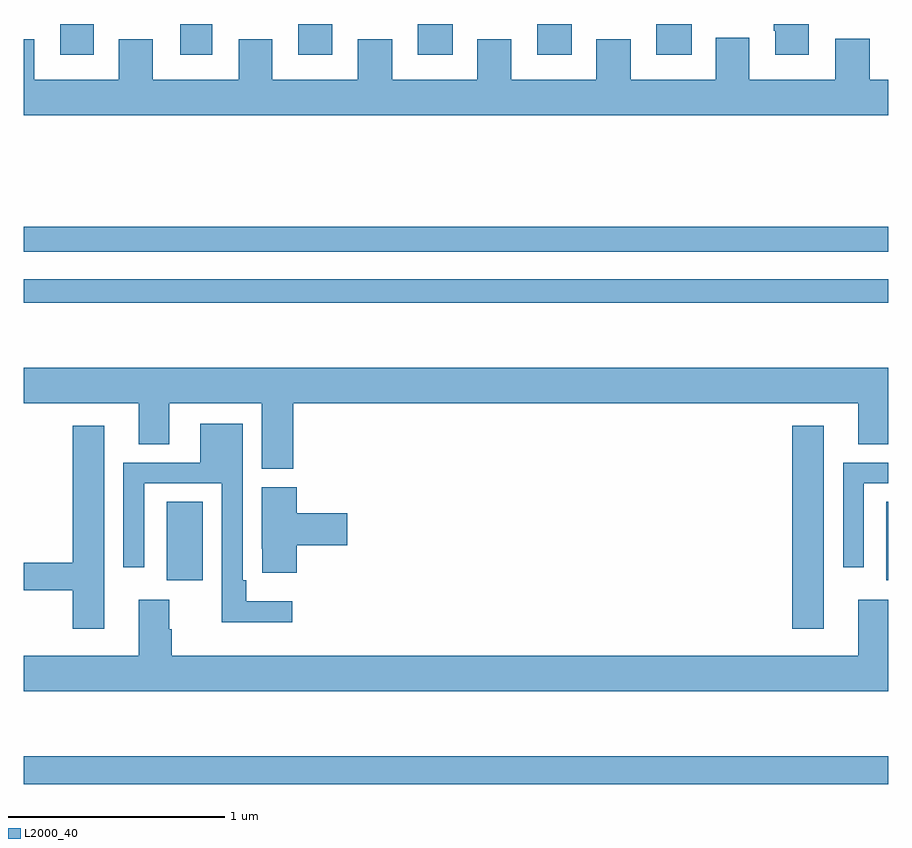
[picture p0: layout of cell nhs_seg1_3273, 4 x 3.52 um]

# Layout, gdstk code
import gdstk
lib = gdstk.Library(unit=1e-6, precision=1e-09)
def R(c, l, rs):  # rectangles x0, y0, x1, y1
    for r in rs: c.add(gdstk.rectangle(r[:2], r[2:], *l))
def P(c, l, *ps):  # polygons
    for p in ps: c.add(gdstk.Polygon(p, *l))
L2000_40 = (2000, 40)

nhs_seg1_3273 = lib.new_cell('nhs_seg1_3273')
R(nhs_seg1_3273, L2000_40, [(289,504.682,293,504.811), (292.556,505.401,292.702,506.341), (289.661,505.626,289.828,505.988), (292.991,505.626,293,505.988), (289,506.91,293,507.018), (289,507.144,293,507.26), (289.169,508.056,289.324,508.199), (289.724,508.056,289.873,508.199), (290.27,508.056,290.428,508.199), (290.822,508.056,290.986,508.199), (291.377,508.056,291.535,508.199), (291.926,508.056,292.09,508.199)])
P(nhs_seg1_3273, L2000_40, [(292.633,508.199),(292.471,508.199),(292.471,508.168),(292.478,508.168),(292.478,508.056),(292.633,508.056)],
  [(289.439,508.129),(289.439,507.94),(289.048,507.94),(289.048,508.129),(289,508.129),(289,507.776),(293,507.776),(293,507.94),(292.915,507.94),(292.915,508.13),(292.754,508.13),(292.754,507.94),(292.357,507.94),(292.357,508.135),(292.202,508.135),(292.202,507.94),(291.808,507.94),(291.808,508.129),(291.65,508.129),(291.65,507.94),(291.256,507.94),(291.256,508.129),(291.098,508.129),(291.098,507.94),(290.704,507.94),(290.704,508.129),(290.546,508.129),(290.546,507.94),(290.149,507.94),(290.149,508.129),(289.994,508.129),(289.994,507.94),(289.597,507.94),(289.597,508.129)],
  [(290.246,506.444),(292.862,506.444),(292.862,506.254),(293,506.254),(293,506.608),(289,506.608),(289,506.444),(289.532,506.444),(289.532,506.254),(289.672,506.254),(289.672,506.444),(290.102,506.444),(290.102,506.14),(290.246,506.14)],
  [(290.242,505.528),(290.029,505.528),(290.029,505.624),(290.013,505.624),(290.013,506.35),(289.817,506.35),(289.817,506.169),(289.461,506.169),(289.461,505.686),(289.557,505.686),(289.557,506.073),(289.917,506.073),(289.917,505.43),(290.242,505.43)],
  [(289.372,506.341),(289.226,506.341),(289.226,505.706),(289,505.706),(289,505.578),(289.226,505.578),(289.226,505.401),(289.372,505.401)],
  [(292.887,506.073),(293,506.073),(293,506.169),(292.791,506.169),(292.791,505.686),(292.887,505.686)],
  [(290.264,505.787),(290.497,505.787),(290.497,505.934),(290.264,505.934),(290.264,506.055),(290.102,506.055),(290.102,505.771),(290.103,505.771),(290.103,505.659),(290.264,505.659)],
  [(293,505.534),(292.862,505.534),(292.862,505.276),(289.685,505.276),(289.685,505.397),(289.672,505.397),(289.672,505.534),(289.532,505.534),(289.532,505.276),(289,505.276),(289,505.112),(293,505.112)])

lib.write_gds('nhs_seg1_3273.gds')
